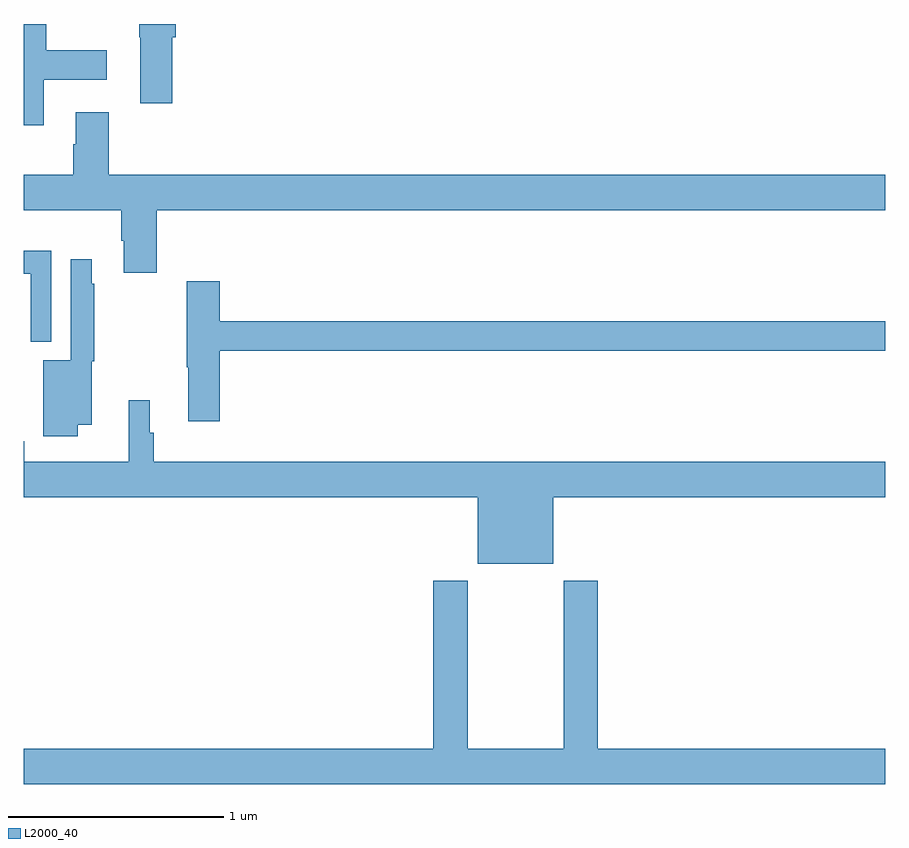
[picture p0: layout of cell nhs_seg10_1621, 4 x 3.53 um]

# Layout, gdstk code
import gdstk
lib = gdstk.Library(unit=1e-6, precision=1e-09)
def P(c, l, *ps):  # polygons
    for p in ps: c.add(gdstk.Polygon(p, *l))
L2000_40 = (2000, 40)

nhs_seg10_1621 = lib.new_cell('nhs_seg10_1621')
P(nhs_seg10_1621, L2000_40, [(195.689,1314.438),(195.707,1314.438),(195.707,1314.5),(195.536,1314.5),(195.536,1314.438),(195.542,1314.438),(195.542,1314.132),(195.689,1314.132)],
  [(195.094,1314.242),(195.385,1314.242),(195.385,1314.377),(195.106,1314.377),(195.106,1314.5),(195,1314.5),(195,1314.03),(195.094,1314.03)],
  [(195.617,1313.636),(199,1313.636),(199,1313.8),(195.395,1313.8),(195.395,1314.091),(195.242,1314.091),(195.242,1313.942),(195.23,1313.942),(195.23,1313.8),(195,1313.8),(195,1313.636),(195.452,1313.636),(195.452,1313.494),(195.464,1313.494),(195.464,1313.346),(195.617,1313.346)],
  [(195.129,1313.448),(195,1313.448),(195,1313.34),(195.032,1313.34),(195.032,1313.024),(195.129,1313.024)],
  [(195.25,1312.64),(195.316,1312.64),(195.316,1312.935),(195.328,1312.935),(195.328,1313.294),(195.316,1313.294),(195.316,1313.407),(195.219,1313.407),(195.219,1312.939),(195.092,1312.939),(195.092,1312.587),(195.25,1312.587)],
  [(195.911,1312.984),(199,1312.984),(199,1313.12),(195.911,1313.12),(195.911,1313.305),(195.757,1313.305),(195.757,1312.907),(195.764,1312.907),(195.764,1312.656),(195.911,1312.656)],
  [(197.458,1312.304),(199,1312.304),(199,1312.468),(195.605,1312.468),(195.605,1312.602),(195.586,1312.602),(195.586,1312.753),(195.487,1312.753),(195.487,1312.468),(195.002,1312.468),(195.002,1312.564),(195,1312.564),(195,1312.304),(197.108,1312.304),(197.108,1311.995),(197.458,1311.995)],
  [(199,1311.136),(197.666,1311.136),(197.666,1311.916),(197.506,1311.916),(197.506,1311.136),(197.061,1311.136),(197.061,1311.916),(196.901,1311.916),(196.901,1311.136),(195,1311.136),(195,1310.972),(199,1310.972)])

lib.write_gds('nhs_seg10_1621.gds')
